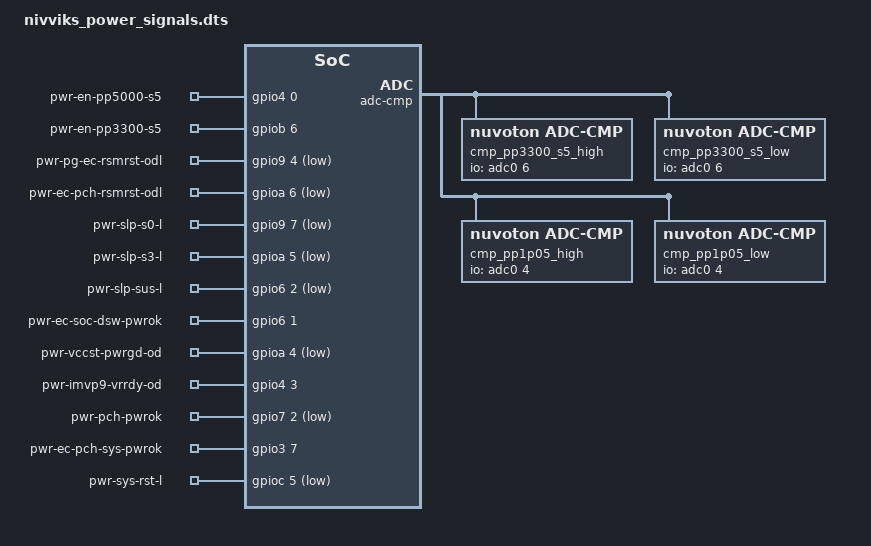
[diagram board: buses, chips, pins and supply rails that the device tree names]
/* Copyright 2022 The Chromium OS Authors. All rights reserved.
 * Use of this source code is governed by a BSD-style license that can be
 * found in the LICENSE file.
 */

/ {
	chosen {
		intel-ap-pwrseq,espi = &espi0;
	};

	common-pwrseq {
		compatible = "intel,ap-pwrseq";

		sys-pwrok-delay = <10>;
		all-sys-pwrgd-timeout = <20>;
	};

	pwr-en-pp5000-s5 {
		compatible = "intel,ap-pwrseq-gpio";
		dbg-label = "pwr-en-pp5000-s5";
		enum-name = "PWR_EN_PP5000_A";
		gpios = <&gpio4 0 0>;
		output;
	};
	pwr-en-pp3300-s5 {
		compatible = "intel,ap-pwrseq-gpio";
		dbg-label = "pwr-en-pp3300-s5";
		enum-name = "PWR_EN_PP3300_A";
		gpios = <&gpiob 6 0>;
		output;
	};
	pwr-pg-ec-rsmrst-odl {
		compatible = "intel,ap-pwrseq-gpio";
		dbg-label = "pwr-pg-ec-rsmrst-odl";
		enum-name = "PWR_RSMRST";
		gpios = <&gpio9 4 (GPIO_ACTIVE_LOW|GPIO_PULL_UP)>;
		interrupt-flags = <GPIO_INT_EDGE_BOTH>;
	};
	pwr-ec-pch-rsmrst-odl {
		compatible = "intel,ap-pwrseq-gpio";
		dbg-label = "pwr-ec-pch-rsmrst-odl";
		enum-name = "PWR_EC_PCH_RSMRST";
		gpios = <&gpioa 6 (GPIO_ACTIVE_LOW)>;
		output;
	};
	pwr-slp-s0-l {
		compatible = "intel,ap-pwrseq-gpio";
		dbg-label = "pwr-slp-s0-l";
		enum-name = "PWR_SLP_S0";
		gpios = <&gpio9 7 GPIO_ACTIVE_LOW>;
		interrupt-flags = <GPIO_INT_EDGE_BOTH>;
	};
	pwr-slp-s3-l {
		compatible = "intel,ap-pwrseq-gpio";
		dbg-label = "pwr-slp-s3-l";
		enum-name = "PWR_SLP_S3";
		gpios = <&gpioa 5 GPIO_ACTIVE_LOW>;
		interrupt-flags = <GPIO_INT_EDGE_BOTH>;
	};
	pwr-slp-sus-l {
		compatible = "intel,ap-pwrseq-gpio";
		dbg-label = "pwr-slp-sus-l";
		enum-name = "PWR_SLP_SUS";
		gpios = <&gpio6 2 GPIO_ACTIVE_LOW>;
		interrupt-flags = <GPIO_INT_EDGE_BOTH>;
	};
	pwr-ec-soc-dsw-pwrok {
		compatible = "intel,ap-pwrseq-gpio";
		dbg-label = "pwr-ec-soc-dsw-pwro";
		enum-name = "PWR_EC_SOC_DSW_PWROK";
		gpios = <&gpio6 1 0>;
		output;
	};
	pwr-vccst-pwrgd-od {
		compatible = "intel,ap-pwrseq-gpio";
		dbg-label = "pwr-vccst-pwrgd-od";
		enum-name = "PWR_VCCST_PWRGD";
		gpios = <&gpioa 4 (GPIO_ACTIVE_LOW|GPIO_OPEN_DRAIN)>;
		output;
	};
	pwr-imvp9-vrrdy-od {
		compatible = "intel,ap-pwrseq-gpio";
		dbg-label = "pwr-imvp9-vrrdy-od";
		enum-name = "PWR_IMVP9_VRRDY";
		gpios = <&gpio4 3 0>;
	};
	pwr-pch-pwrok {
		compatible = "intel,ap-pwrseq-gpio";
		dbg-label = "pwr-pch-pwrok";
		enum-name = "PWR_PCH_PWROK";
		gpios = <&gpio7 2 (GPIO_ACTIVE_LOW|GPIO_OPEN_DRAIN)>;
		output;
	};
	pwr-ec-pch-sys-pwrok {
		compatible = "intel,ap-pwrseq-gpio";
		dbg-label = "pwr-ec-pch-sys-pwrok";
		enum-name = "PWR_EC_PCH_SYS_PWROK";
		gpios = <&gpio3 7 0>;
		output;
	};
	pwr-sys-rst-l {
		compatible = "intel,ap-pwrseq-gpio";
		dbg-label = "pwr-sys-rst-l";
		enum-name = "PWR_SYS_RST";
		gpios = <&gpioc 5 (GPIO_ACTIVE_LOW|GPIO_OPEN_DRAIN)>;
		output;
	};
	pwr-slp-s4 {
		compatible = "intel,ap-pwrseq-vw";
		dbg-label = "SLP_S4";
		enum-name = "PWR_SLP_S4";
		virtual-wire = "ESPI_VWIRE_SIGNAL_SLP_S4";
	};
	pwr-slp-s5 {
		compatible = "intel,ap-pwrseq-vw";
		dbg-label = "SLP_S5";
		enum-name = "PWR_SLP_S5";
		virtual-wire = "ESPI_VWIRE_SIGNAL_SLP_S5";
	};
	pwr-all-sys-pwrgd {
		compatible = "intel,ap-pwrseq-external";
		dbg-label = "ALL_SYS_PWRGD";
		enum-name = "PWR_ALL_SYS_PWRGD";
	};
	pwr-adc-pp3300 {
		compatible = "intel,ap-pwrseq-adc";
		dbg-label = "PP3300_PROC";
		enum-name = "PWR_PG_PP3300";
		trigger-high = <&cmp_pp3300_s5_high>;
		trigger-low = <&cmp_pp3300_s5_low>;
	};
	pwr-adc-pp1p05 {
		compatible = "intel,ap-pwrseq-adc";
		dbg-label = "PP1P05_PROC";
		enum-name = "PWR_PG_PP1P05";
		trigger-high = <&cmp_pp1p05_high>;
		trigger-low = <&cmp_pp1p05_low>;
	};

	adc-cmp {
		cmp_pp3300_s5_high: pp3300_high {
			compatible = "nuvoton,adc-cmp";
			io-channels = <&adc0 6>;
			comparison = "ADC_CMP_NPCX_GREATER";
			threshold-mv = <2640>;
		};
		cmp_pp3300_s5_low: pp3300_low {
			compatible = "nuvoton,adc-cmp";
			io-channels = <&adc0 6>;
			comparison = "ADC_CMP_NPCX_LESS_OR_EQUAL";
			threshold-mv = <500>;
		};
		cmp_pp1p05_high: pp1p05_high {
			compatible = "nuvoton,adc-cmp";
			io-channels = <&adc0 4>;
			comparison = "ADC_CMP_NPCX_GREATER";
			threshold-mv = <945>;
		};
		cmp_pp1p05_low: pp1p05_low {
			compatible = "nuvoton,adc-cmp";
			io-channels = <&adc0 4>;
			comparison = "ADC_CMP_NPCX_LESS_OR_EQUAL";
			threshold-mv = <250>;
		};
	};
};

/*
 * Because the power signals directly reference the GPIOs,
 * the correspinding named-gpios need to have no-auto-init set.
 */
&gpio_ec_soc_dsw_pwrok {
	no-auto-init;
};
&gpio_ec_soc_pch_pwrok_od {
	no-auto-init;
};
&gpio_ec_soc_rsmrst_l {
	no-auto-init;
};
&gpio_ec_soc_sys_pwrok {
	no-auto-init;
};
&gpio_ec_soc_vccst_pwrgd_od {
	no-auto-init;
};
&gpio_en_pp3300_s5 {
	no-auto-init;
};
&gpio_en_pp5000_s5 {
	no-auto-init;
};
&gpio_imvp91_vrrdy_od {
	no-auto-init;
};
&gpio_rsmrst_pwrgd_l {
	no-auto-init;
};
&gpio_slp_s0_l {
	no-auto-init;
};
&gpio_slp_s3_l {
	no-auto-init;
};
&gpio_slp_sus_l {
	no-auto-init;
};
&gpio_sys_rst_odl {
	no-auto-init;
};
